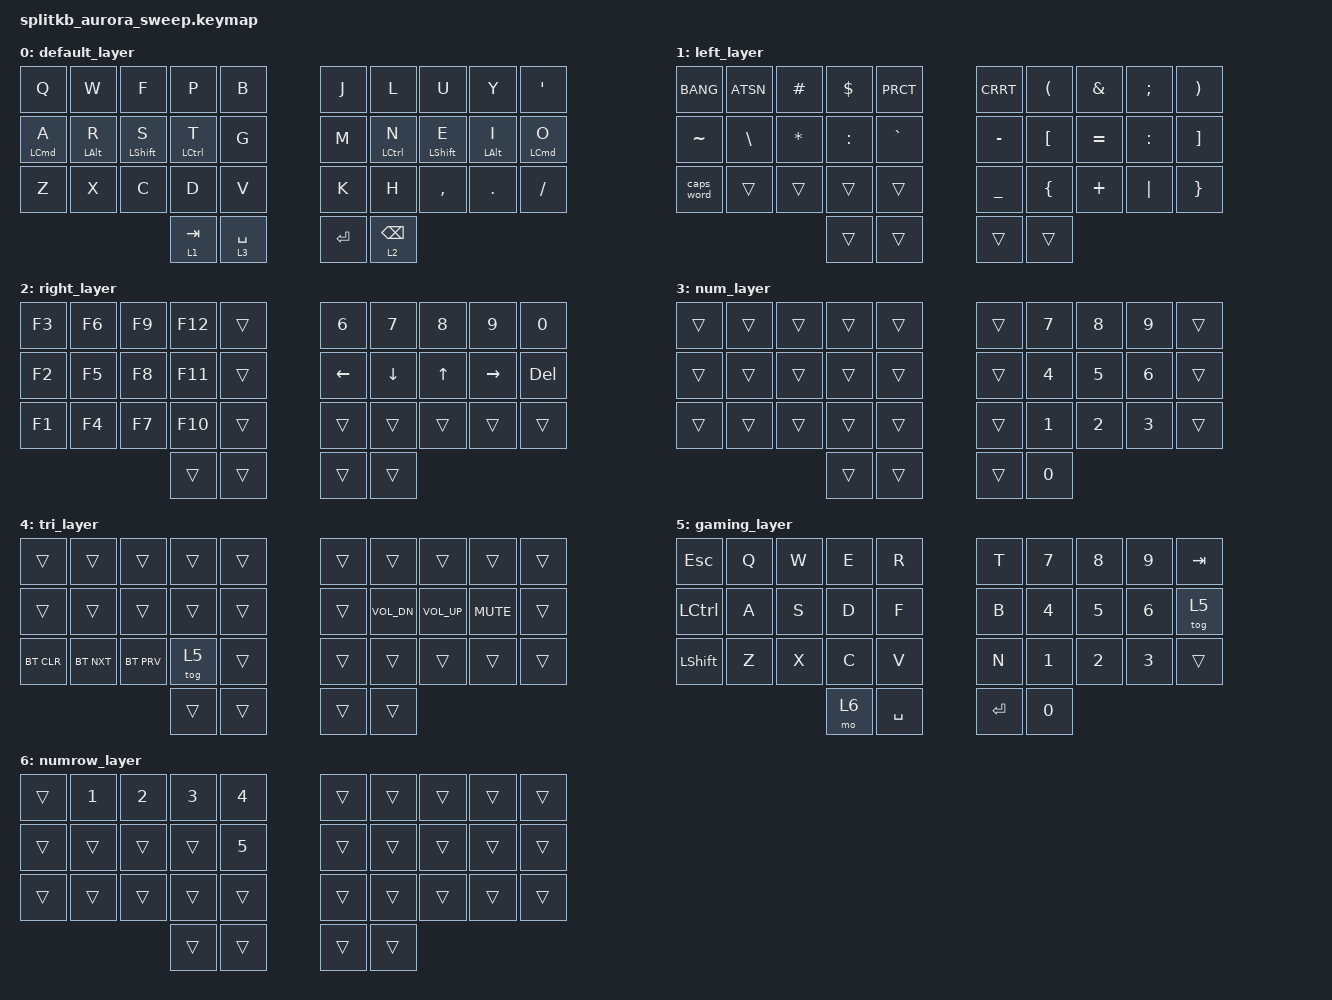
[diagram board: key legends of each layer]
/*
 * Copyright (c) 2022 The ZMK Contributors
 *
 * SPDX-License-Identifier: MIT
 */

#include <behaviors.dtsi>
#include <dt-bindings/zmk/keys.h>
#include <dt-bindings/zmk/bt.h>


&mt {
  	flavor = "tap-preferred";
	tapping_term_ms = <175>;
};

/ { 
	combos {
        compatible = "zmk,combos";
        combo_esc {
            timeout-ms = <50>;
            key-positions = <0 1>;
            bindings = <&kp ESC>;
        };
    };

	conditional_layers {
        compatible = "zmk,conditional-layers";
        tri_layer { 
			if-layers = <1 2>;
            then-layer = <4>;
        };
	};
	  
    keymap {
        compatible = "zmk,keymap";

     	default_layer {
	        bindings = <
	            &kp Q       &kp W       &kp F        &kp P       &kp B 	        &kp J    &kp L       &kp U        &kp Y       &kp QUOT 
	            &mt LCMD A  &mt LALT R  &mt LSHFT S  &mt LCTL T  &kp G 	        &kp M    &mt LCTL N  &mt LSHFT E  &mt LALT I  &mt LCMD O
	            &kp Z       &kp X       &kp C        &kp D       &kp V			&kp K    &kp H       &kp CMMA     &kp DOT     &kp SLASH
               				                         &lt 1 TAB   &lt 3 SPC      &kp RET  &lt 2 BSPC
	        >;
	    };

	    left_layer {
	        bindings = <
	            &kp BANG   &kp ATSN &kp HASH  &kp DLLR  &kp PRCT    		&kp CRRT   &kp LPRN  &kp AMPS   &kp SEMI   &kp RPRN 
                &kp TILDE  &kp BSLH &kp STAR  &kp COLN  &kp GRAVE 			&kp MINUS  &kp LBKT  &kp EQUAL  &kp COLON  &kp RBKT
	            &caps_word &trans   &trans    &trans    &trans    			&kp UNDER  &kp LBRC  &kp PLUS   &kp PIPE   &kp RBRC
	            			    		      &trans    &trans 			    &trans     &trans 
	        >;
	    };
	
     	right_layer {
	        bindings = <
	        &kp F3  &kp F6  &kp F9  &kp F12  &trans		    &kp NUM_6  &kp NUM_7  &kp NUM_8  &kp NUM_9   &kp NUM_0 
	        &kp F2  &kp F5  &kp F8  &kp F11  &trans 		&kp LEFT   &kp DOWN   &kp UP     &kp RIGHT   &kp DEL 
	        &kp F1	&kp F4 	&kp F7  &kp F10  &trans 	    &trans     &trans     &trans     &trans      &trans    
	        			      		&trans   &trans         &trans     &trans
	        >;
	    };
		
		num_layer {
			bindings = <
			&trans	&trans	&trans	&trans  &trans		&trans  &kp NUM_7  &kp NUM_8  &kp NUM_9  &trans 
	        &trans	&trans	&trans	&trans  &trans 		&trans  &kp NUM_4  &kp NUM_5  &kp NUM_6  &trans 
	        &trans	&trans	&trans	&trans  &trans 	    &trans  &kp NUM_1  &kp NUM_2  &kp NUM_3  &trans    
	        			      	    &trans  &trans      &trans  &kp NUM_0
			>;
		};
	
	    tri_layer {
	        bindings = <
	        &trans      &trans      &trans      &trans  &trans 		&trans  &trans        &trans        &trans      &trans
	        &trans      &trans      &trans      &trans  &trans 	    &trans  &kp C_VOL_DN  &kp C_VOL_UP  &kp C_MUTE  &trans 
	        &bt BT_CLR  &bt BT_NXT  &bt BT_PRV  &tog 5  &trans   	&trans  &trans        &trans        &trans      &trans   
	        			 			     		&trans  &trans      &trans  &trans 
	        >;
	    };

	    gaming_layer {
	        bindings = <
	            &kp ESC     &kp Q       &kp W       &kp E       &kp R 	        &kp T    &kp NUM_7  &kp NUM_8  &kp NUM_9  &kp TAB 
	            &kp LCTL    &kp A  		&kp S  		&kp D  	    &kp F 	        &kp B    &kp NUM_4  &kp NUM_5  &kp NUM_6  &tog 5 
	            &kp LSHFT   &kp Z       &kp X       &kp C       &kp V			&kp N    &kp NUM_1  &kp NUM_2  &kp NUM_3  &trans 
               				                        &mo 6       &kp SPC         &kp RET  &kp NUM_0
	        >;
	    };

		numrow_layer {
	        bindings = <
	            &trans     &kp NUM_1  &kp NUM_2  &kp NUM_3	 &kp NUM_4          &trans	   &trans	  &trans	 &trans      &trans
	            &trans	   &trans	  &trans	 &trans      &kp NUM_5  	    &trans	   &trans	  &trans	 &trans      &trans
	            &trans	   &trans	  &trans	 &trans      &trans       	    &trans	   &trans	  &trans	 &trans      &trans
               				      	             &trans      &trans             &trans	   &trans
	        >;
	    };
	};
};
